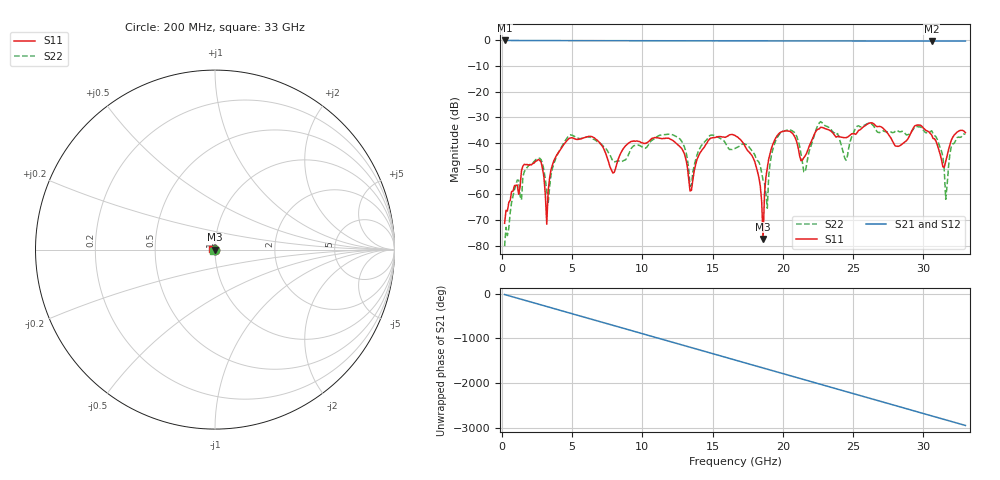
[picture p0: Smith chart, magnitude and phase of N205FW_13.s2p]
# GHZ S RI R 50
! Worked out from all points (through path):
!   329 points, 200 MHz to 33 GHz, reference 50 ohm
!   highest |S21| = -0.02 dB at 200 MHz (marker M1); lowest = -0.3 dB at 30.6 GHz (marker M2)
!   group delay of S21, straight-line fit = 248 ps
!   lowest |S11| = -77.4 dB at 18.6 GHz (marker M3), VSWR 1.00, Z = 50 + j0.00915 ohm
!   |S11| at or under -10 dB: start of sweep to end of sweep
!   |S22| runs from -80.2 to -31.7 dB; largest |S21 - S12| = 0.0022
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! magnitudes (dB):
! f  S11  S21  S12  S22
! 200 MHz  -71.3  0.0  0.0  -80.2
! 1.1 GHz  -56.4  0.0  0.0  -54.4
! 2.7 GHz  -46.7  -0.1  -0.1  -45.9
! 3.2 GHz  -71.6  -0.1  -0.1  -58.6
! 3.7 GHz  -47.0  -0.1  -0.1  -48.1
! 5.7 GHz  -38.3  -0.1  -0.1  -38.1
! 7.9 GHz  -51.7  -0.1  -0.1  -47.0
! 11.2 GHz  -38.1  -0.1  -0.1  -37.0
! 12.8 GHz  -42.1  -0.2  -0.2  -39.3
! 13.4 GHz  -58.7  -0.2  -0.2  -56.9
! 14.8 GHz  -38.4  -0.2  -0.2  -37.1
! 16.6 GHz  -37.0  -0.2  -0.2  -42.1
! 18.2 GHz  -51.1  -0.2  -0.2  -46.9
! 18.6 GHz  -77.4  -0.2  -0.2  -54.5
! 18.9 GHz  -49.6  -0.2  -0.2  -65.4
! 19.4 GHz  -39.1  -0.2  -0.2  -40.5
! 22.1 GHz  -38.5  -0.2  -0.2  -39.6
! 27.6 GHz  -37.3  -0.2  -0.2  -35.6
! 30.6 GHz  -36.9  -0.3  -0.3  -35.2
! 31.6 GHz  -47.2  -0.3  -0.3  -61.9
! 32 GHz  -38.9  -0.3  -0.3  -41.3
! 33 GHz  -35.9  -0.3  -0.3  -36.5
